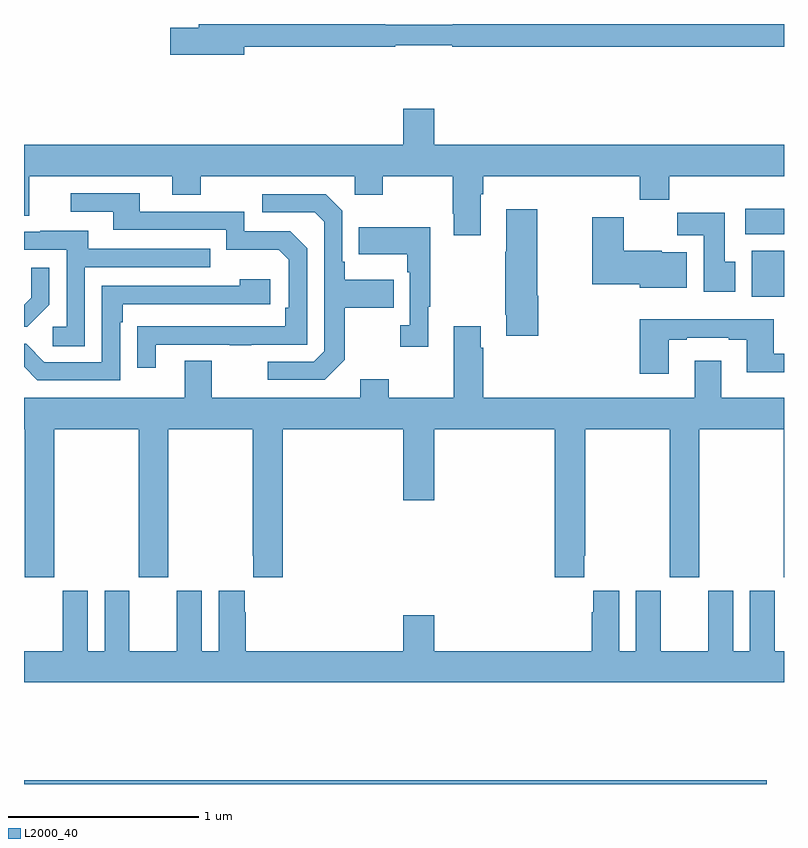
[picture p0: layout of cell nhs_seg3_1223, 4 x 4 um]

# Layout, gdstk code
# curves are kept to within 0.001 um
import gdstk
lib = gdstk.Library(unit=1e-6, precision=1e-09)
def R(c, l, rs):  # rectangles x0, y0, x1, y1
    for r in rs: c.add(gdstk.rectangle(r[:2], r[2:], *l))
def P(c, l, *ps):  # polygons
    for p in ps: c.add(gdstk.Polygon(p, *l))
L2000_40 = (2000, 40)

nhs_seg3_1223 = lib.new_cell('nhs_seg3_1223')
R(nhs_seg3_1223, L2000_40, [(175,680.4,178.91,680.42), (178.829,682.964,179,683.206), (178.797,683.294,179,683.428)])
P(nhs_seg3_1223, L2000_40, [(176.158,684.28),(176.954,684.28),(176.954,684.288),(177.254,684.288),(177.254,684.28),(179,684.28),(179,684.4),(177.256,684.4),(177.256,684.397),(176.9,684.397),(176.9,684.4),(175.919,684.4),(175.919,684.38),(175.77,684.38),(175.77,684.238),(176.158,684.238)],
  [(177.403,683.504),(177.416,683.504),(177.416,683.6),(178.241,683.6),(178.241,683.476),(178.397,683.476),(178.397,683.6),(179,683.6),(179,683.764),(177.16,683.764),(177.16,683.953),(176.996,683.953),(176.996,683.764),(175,683.764),(175,683.392),(175.027,683.392),(175.027,683.6),(175.781,683.6),(175.781,683.501),(175.929,683.501),(175.929,683.6),(176.742,683.6),(176.742,683.501),(176.889,683.501),(176.889,683.6),(177.256,683.6),(177.256,683.401),(177.263,683.401),(177.263,683.289),(177.403,683.289)],
  [(175.693,682.713),(176.083,682.713),(176.083,682.708),(176.195,682.708),(176.195,682.713),(176.49,682.713),(176.49,683.22),(176.4,683.31),(176.16,683.31),(176.16,683.412),(175.609,683.412),(175.609,683.508),(175.245,683.508),(175.245,683.412),(175.469,683.412),(175.469,683.316),(176.064,683.316),(176.064,683.213),(176.341,683.213),(176.394,683.16),(176.394,682.906),(176.374,682.906),(176.374,682.809),(175.597,682.808),(175.597,682.59),(175.693,682.59)],
  [(176.689,682.633),(176.689,682.906),(176.945,682.906),(176.945,683.053),(176.689,683.053),(176.689,683.149),(176.676,683.149),(176.676,683.418),(176.589,683.505),(176.253,683.505),(176.253,683.409),(176.529,683.409),(176.58,683.358),(176.58,682.677),(176.526,682.623),(176.283,682.623),(176.283,682.527),(176.583,682.527)],
  [(177.707,682.97),(177.702,682.97),(177.702,683.425),(177.539,683.425),(177.539,683.201),(177.532,683.201),(177.532,682.87),(177.539,682.87),(177.539,682.758),(177.707,682.758)],
  [(178.744,683.148),(178.687,683.148),(178.687,683.407),(178.438,683.407),(178.438,683.288),(178.577,683.288),(178.577,682.992),(178.744,682.992)],
  [(178.489,683.2),(178.356,683.2),(178.356,683.206),(178.156,683.206),(178.156,683.383),(177.991,683.383),(177.991,683.03),(178.242,683.03),(178.242,683.012),(178.489,683.012)],
  [(177.127,682.913),(177.139,682.913),(177.139,683.329),(176.761,683.329),(176.761,683.189),(177.018,683.189),(177.018,683.093),(177.03,683.093),(177.03,682.814),(176.979,682.814),(176.979,682.701),(177.127,682.701)],
  [(175.32,683.121),(175.979,683.121),(175.979,683.217),(175.339,683.217),(175.339,683.311),(175.085,683.311),(175.085,683.307),(175,683.307),(175,683.211),(175.224,683.211),(175.224,682.806),(175.152,682.806),(175.152,682.705),(175.32,682.705)],
  [(175.134,682.922),(175.134,683.116),(175.037,683.116),(175.037,682.959),(175,682.922),(175,682.806),(175.018,682.806)],
  [(175.506,682.829),(175.519,682.829),(175.519,682.926),(176.296,682.926),(176.296,683.056),(176.135,683.056),(176.135,683.022),(175.41,683.022),(175.41,682.62),(175.107,682.62),(175.011,682.716),(175,682.716),(175,682.595),(175.071,682.524),(175.506,682.524)],
  [(178.393,682.737),(178.489,682.737),(178.489,682.749),(178.709,682.749),(178.709,682.737),(178.805,682.737),(178.805,682.568),(179,682.568),(179,682.665),(178.945,682.665),(178.945,682.846),(178.241,682.846),(178.241,682.56),(178.393,682.56)],
  [(175.158,682.268),(175.603,682.268),(175.603,681.489),(175.758,681.489),(175.758,682.268),(176.203,682.268),(176.203,681.601),(176.207,681.601),(176.207,681.489),(176.363,681.489),(176.363,682.268),(176.996,682.268),(176.996,681.894),(177.16,681.894),(177.16,682.268),(177.794,682.268),(177.794,681.489),(177.949,681.489),(177.949,681.601),(177.954,681.601),(177.954,682.268),(178.399,682.268),(178.399,681.489),(178.554,681.489),(178.554,682.268),(178.999,682.268),(178.999,681.489),(179,681.489),(179,682.432),(178.669,682.432),(178.669,682.627),(178.529,682.627),(178.529,682.432),(177.416,682.432),(177.416,682.697),(177.403,682.697),(177.403,682.81),(177.263,682.81),(177.263,682.432),(176.919,682.432),(176.919,682.531),(176.771,682.531),(176.771,682.432),(175.987,682.432),(175.987,682.627),(175.847,682.627),(175.847,682.432),(175,682.432),(175,682.268),(175.003,682.268),(175.003,681.489),(175.158,681.489)],
  [(179,681.1),(178.951,681.1),(178.951,681.418),(178.82,681.418),(178.82,681.1),(178.732,681.1),(178.732,681.418),(178.601,681.418),(178.601,681.1),(178.351,681.1),(178.351,681.418),(178.22,681.418),(178.22,681.1),(178.132,681.1),(178.132,681.418),(177.995,681.418),(177.995,681.305),(177.989,681.305),(177.989,681.1),(177.16,681.1),(177.16,681.289),(176.996,681.289),(176.996,681.1),(176.168,681.1),(176.168,681.305),(176.161,681.305),(176.161,681.418),(176.024,681.418),(176.024,681.1),(175.936,681.1),(175.936,681.418),(175.805,681.418),(175.805,681.1),(175.555,681.1),(175.555,681.418),(175.424,681.418),(175.424,681.1),(175.336,681.1),(175.336,681.418),(175.205,681.418),(175.205,681.1),(175,681.1),(175,680.936),(179,680.936)])

lib.write_gds('nhs_seg3_1223.gds')
